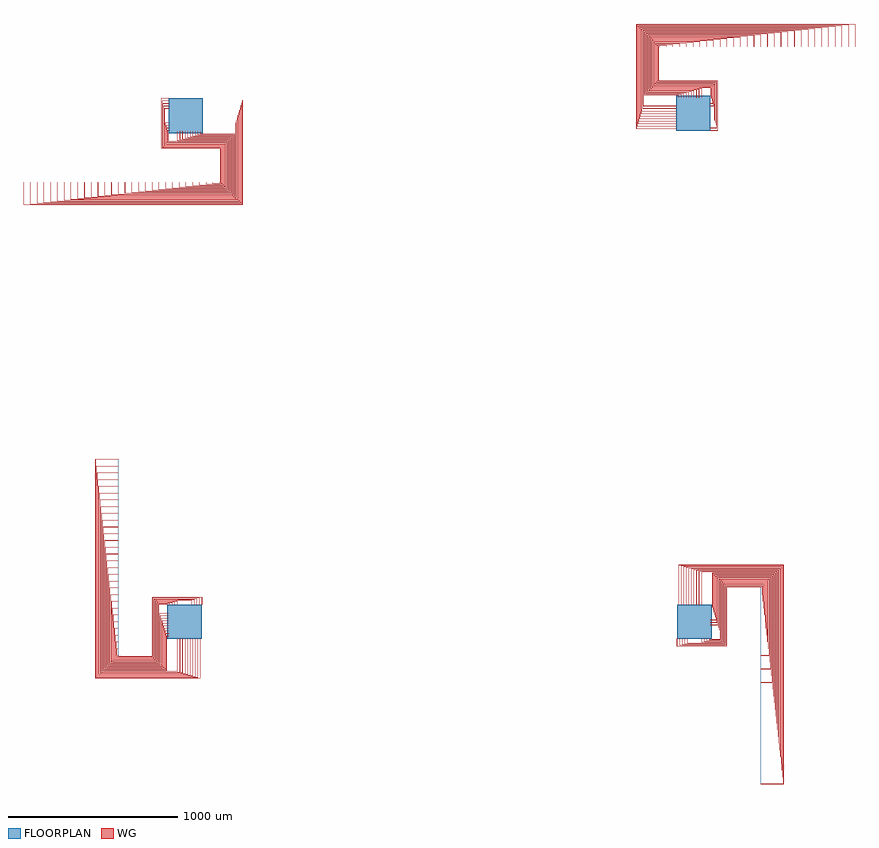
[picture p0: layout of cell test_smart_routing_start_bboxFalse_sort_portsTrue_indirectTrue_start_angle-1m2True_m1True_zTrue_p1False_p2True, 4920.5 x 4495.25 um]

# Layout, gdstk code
import gdstk
lib = gdstk.Library(unit=1e-6, precision=1e-09)
def R(c, l, rs):  # rectangles x0, y0, x1, y1
    for r in rs: c.add(gdstk.rectangle(r[:2], r[2:], *l))
def P(c, l, *ps):  # polygons
    for p in ps: c.add(gdstk.Polygon(p, *l))
WG = (1, 0)
FLOORPLAN = (10, 0)

test_smart_routing_start = lib.new_cell('test_smart_routing_start_bboxFalse_sort_portsTrue_indirectTrue_start_angle-1m2True_m1True_zTrue_p1False_p2True')
P(test_smart_routing_start, WG, [(3100,2904.75),(3100,2905.25),(3144.5,2905.25),(3144.5,3199.75),(2795.25,3199.75),(2795.25,3404.5),(2800.25,3404.5),(2800.25,3400),(2799.75,3400),(2799.75,3404),(2795.75,3404),(2795.75,3200.25),(3145,3200.25),(3145,2904.75)],
  [(3100,2919.75),(3100,2920.25),(3140,2920.25),(3140,3195.25),(2790.75,3195.25),(2790.75,3409),(2840.25,3409),(2840.25,3400),(2839.75,3400),(2839.75,3408.5),(2791.25,3408.5),(2791.25,3195.75),(3140.5,3195.75),(3140.5,2919.75)],
  [(3100,2934.75),(3100,2935.25),(3135.5,2935.25),(3135.5,3190.75),(2786.25,3190.75),(2786.25,3413.5),(2880.25,3413.5),(2880.25,3400),(2879.75,3400),(2879.75,3413),(2786.75,3413),(2786.75,3191.25),(3136,3191.25),(3136,2934.75)],
  [(3100,2949.75),(3100,2950.25),(3131,2950.25),(3131,3186.25),(2781.75,3186.25),(2781.75,3418),(2920.25,3418),(2920.25,3400),(2919.75,3400),(2919.75,3417.5),(2782.25,3417.5),(2782.25,3186.75),(3131.5,3186.75),(3131.5,2949.75)],
  [(3100,2964.75),(3100,2965.25),(3126.5,2965.25),(3126.5,3181.75),(2777.25,3181.75),(2777.25,3422.5),(2960.25,3422.5),(2960.25,3400),(2959.75,3400),(2959.75,3422),(2777.75,3422),(2777.75,3182.25),(3127,3182.25),(3127,2964.75)],
  [(3100,3049.75),(3100,3050.25),(3122,3050.25),(3122,3177.25),(2772.75,3177.25),(2772.75,3427),(3000.25,3427),(3000.25,3400),(2999.75,3400),(2999.75,3426.5),(2773.25,3426.5),(2773.25,3177.75),(3122.5,3177.75),(3122.5,3049.75)],
  [(3100,3064.75),(3100,3065.25),(3117.5,3065.25),(3117.5,3172.75),(2768.25,3172.75),(2768.25,3431.5),(3040.25,3431.5),(3040.25,3400),(3039.75,3400),(3039.75,3431),(2768.75,3431),(2768.75,3173.25),(3118,3173.25),(3118,3064.75)],
  [(3100,3079.75),(3100,3080.25),(3113,3080.25),(3113,3168.25),(2763.75,3168.25),(2763.75,3436),(3080.25,3436),(3080.25,3400),(3079.75,3400),(3079.75,3435.5),(2764.25,3435.5),(2764.25,3168.75),(3113.5,3168.75),(3113.5,3079.75)],
  [(3100,3094.75),(3100,3095.25),(3108.5,3095.25),(3108.5,3163.75),(2759.25,3163.75),(2759.25,3440.5),(3120.25,3440.5),(3120.25,3400),(3119.75,3400),(3119.75,3440),(2759.75,3440),(2759.75,3164.25),(3109,3164.25),(3109,3094.75)],
  [(3100,3109.75),(3100,3110.25),(3104,3110.25),(3104,3159.25),(2754.75,3159.25),(2754.75,3445),(3160.25,3445),(3160.25,3400),(3159.75,3400),(3159.75,3444.5),(2755.25,3444.5),(2755.25,3159.75),(3104.5,3159.75),(3104.5,3109.75)],
  [(3049.75,3100),(3049.75,3154.75),(2750.25,3154.75),(2750.25,3449.5),(3200.25,3449.5),(3200.25,3400),(3199.75,3400),(3199.75,3449),(2750.75,3449),(2750.75,3155.25),(3050.25,3155.25),(3050.25,3100)],
  [(3034.75,3100),(3034.75,3150.25),(2745.75,3150.25),(2745.75,3454),(3240.25,3454),(3240.25,3400),(3239.75,3400),(3239.75,3453.5),(2746.25,3453.5),(2746.25,3150.75),(3035.25,3150.75),(3035.25,3100)],
  [(3019.75,3100),(3019.75,3145.75),(2741.25,3145.75),(2741.25,3458.5),(3280.25,3458.5),(3280.25,3400),(3279.75,3400),(3279.75,3458),(2741.75,3458),(2741.75,3146.25),(3020.25,3146.25),(3020.25,3100)],
  [(3004.75,3100),(3004.75,3141.25),(2736.75,3141.25),(2736.75,3463),(3320.25,3463),(3320.25,3400),(3319.75,3400),(3319.75,3462.5),(2737.25,3462.5),(2737.25,3141.75),(3005.25,3141.75),(3005.25,3100)],
  [(2989.75,3100),(2989.75,3136.75),(2732.25,3136.75),(2732.25,3467.5),(3360.25,3467.5),(3360.25,3400),(3359.75,3400),(3359.75,3467),(2732.75,3467),(2732.75,3137.25),(2990.25,3137.25),(2990.25,3100)],
  [(2974.75,3100),(2974.75,3132.25),(2727.75,3132.25),(2727.75,3472),(3400.25,3472),(3400.25,3400),(3399.75,3400),(3399.75,3471.5),(2728.25,3471.5),(2728.25,3132.75),(2975.25,3132.75),(2975.25,3100)],
  [(2959.75,3100),(2959.75,3127.75),(2723.25,3127.75),(2723.25,3476.5),(3440.25,3476.5),(3440.25,3400),(3439.75,3400),(3439.75,3476),(2723.75,3476),(2723.75,3128.25),(2960.25,3128.25),(2960.25,3100)],
  [(2944.75,3100),(2944.75,3123.25),(2718.75,3123.25),(2718.75,3481),(3480.25,3481),(3480.25,3400),(3479.75,3400),(3479.75,3480.5),(2719.25,3480.5),(2719.25,3123.75),(2945.25,3123.75),(2945.25,3100)],
  [(2929.75,3100),(2929.75,3118.75),(2714.25,3118.75),(2714.25,3485.5),(3520.25,3485.5),(3520.25,3400),(3519.75,3400),(3519.75,3485),(2714.75,3485),(2714.75,3119.25),(2930.25,3119.25),(2930.25,3100)],
  [(2914.75,3100),(2914.75,3114.25),(2709.75,3114.25),(2709.75,3490),(3560.25,3490),(3560.25,3400),(3559.75,3400),(3559.75,3489.5),(2710.25,3489.5),(2710.25,3114.75),(2915.25,3114.75),(2915.25,3100)],
  [(2705.25,3049.75),(2705.25,3494.5),(3600.25,3494.5),(3600.25,3400),(3599.75,3400),(3599.75,3494),(2705.75,3494),(2705.75,3050.25),(2900,3050.25),(2900,3049.75)],
  [(2700.75,3034.75),(2700.75,3499),(3640.25,3499),(3640.25,3400),(3639.75,3400),(3639.75,3498.5),(2701.25,3498.5),(2701.25,3035.25),(2900,3035.25),(2900,3034.75)],
  [(2696.25,3019.75),(2696.25,3503.5),(3680.25,3503.5),(3680.25,3400),(3679.75,3400),(3679.75,3503),(2696.75,3503),(2696.75,3020.25),(2900,3020.25),(2900,3019.75)],
  [(2691.75,3004.75),(2691.75,3508),(3720.25,3508),(3720.25,3400),(3719.75,3400),(3719.75,3507.5),(2692.25,3507.5),(2692.25,3005.25),(2900,3005.25),(2900,3004.75)],
  [(2687.25,2989.75),(2687.25,3512.5),(3760.25,3512.5),(3760.25,3400),(3759.75,3400),(3759.75,3512),(2687.75,3512),(2687.75,2990.25),(2900,2990.25),(2900,2989.75)],
  [(2682.75,2974.75),(2682.75,3517),(3800.25,3517),(3800.25,3400),(3799.75,3400),(3799.75,3516.5),(2683.25,3516.5),(2683.25,2975.25),(2900,2975.25),(2900,2974.75)],
  [(2678.25,2959.75),(2678.25,3521.5),(3840.25,3521.5),(3840.25,3400),(3839.75,3400),(3839.75,3521),(2678.75,3521),(2678.75,2960.25),(2900,2960.25),(2900,2959.75)],
  [(2673.75,2944.75),(2673.75,3526),(3880.25,3526),(3880.25,3400),(3879.75,3400),(3879.75,3525.5),(2674.25,3525.5),(2674.25,2945.25),(2900,2945.25),(2900,2944.75)],
  [(2669.25,2929.75),(2669.25,3530.5),(3920.25,3530.5),(3920.25,3400),(3919.75,3400),(3919.75,3530),(2669.75,3530),(2669.75,2930.25),(2900,2930.25),(2900,2929.75)],
  [(2664.75,2914.75),(2664.75,3535),(3960.25,3535),(3960.25,3400),(3959.75,3400),(3959.75,3534.5),(2665.25,3534.5),(2665.25,2915.25),(2900,2915.25),(2900,2914.75)],
  [(199.75,2595.5),(199.75,2600),(200.25,2600),(200.25,2596),(204.25,2596),(204.25,2799.75),(-145,2799.75),(-145,3095.25),(-100,3095.25),(-100,3094.75),(-144.5,3094.75),(-144.5,2800.25),(204.75,2800.25),(204.75,2595.5)],
  [(159.75,2591),(159.75,2600),(160.25,2600),(160.25,2591.5),(208.75,2591.5),(208.75,2804.25),(-140.5,2804.25),(-140.5,3080.25),(-100,3080.25),(-100,3079.75),(-140,3079.75),(-140,2804.75),(209.25,2804.75),(209.25,2591)],
  [(119.75,2586.5),(119.75,2600),(120.25,2600),(120.25,2587),(213.25,2587),(213.25,2808.75),(-136,2808.75),(-136,3065.25),(-100,3065.25),(-100,3064.75),(-135.5,3064.75),(-135.5,2809.25),(213.75,2809.25),(213.75,2586.5)],
  [(79.75,2582),(79.75,2600),(80.25,2600),(80.25,2582.5),(217.75,2582.5),(217.75,2813.25),(-131.5,2813.25),(-131.5,3050.25),(-100,3050.25),(-100,3049.75),(-131,3049.75),(-131,2813.75),(218.25,2813.75),(218.25,2582)],
  [(39.75,2577.5),(39.75,2600),(40.25,2600),(40.25,2578),(222.25,2578),(222.25,2817.75),(-127,2817.75),(-127,3035.25),(-100,3035.25),(-100,3034.75),(-126.5,3034.75),(-126.5,2818.25),(222.75,2818.25),(222.75,2577.5)],
  [(-0.25,2573),(-0.25,2600),(0.25,2600),(0.25,2573.5),(226.75,2573.5),(226.75,2822.25),(-122.5,2822.25),(-122.5,2950.25),(-100,2950.25),(-100,2949.75),(-122,2949.75),(-122,2822.75),(227.25,2822.75),(227.25,2573)],
  [(-40.25,2568.5),(-40.25,2600),(-39.75,2600),(-39.75,2569),(231.25,2569),(231.25,2826.75),(-118,2826.75),(-118,2935.25),(-100,2935.25),(-100,2934.75),(-117.5,2934.75),(-117.5,2827.25),(231.75,2827.25),(231.75,2568.5)],
  [(-80.25,2564),(-80.25,2600),(-79.75,2600),(-79.75,2564.5),(235.75,2564.5),(235.75,2831.25),(-113.5,2831.25),(-113.5,2920.25),(-100,2920.25),(-100,2919.75),(-113,2919.75),(-113,2831.75),(236.25,2831.75),(236.25,2564)],
  [(-120.25,2559.5),(-120.25,2600),(-119.75,2600),(-119.75,2560),(240.25,2560),(240.25,2835.75),(-109,2835.75),(-109,2905.25),(-100,2905.25),(-100,2904.75),(-108.5,2904.75),(-108.5,2836.25),(240.75,2836.25),(240.75,2559.5)],
  [(-160.25,2555),(-160.25,2600),(-159.75,2600),(-159.75,2555.5),(244.75,2555.5),(244.75,2840.25),(-104.5,2840.25),(-104.5,2890.25),(-100,2890.25),(-100,2889.75),(-104,2889.75),(-104,2840.75),(245.25,2840.75),(245.25,2555)],
  [(-200.25,2550.5),(-200.25,2600),(-199.75,2600),(-199.75,2551),(249.25,2551),(249.25,2844.75),(-50.25,2844.75),(-50.25,2900),(-49.75,2900),(-49.75,2845.25),(249.75,2845.25),(249.75,2550.5)],
  [(-240.25,2546),(-240.25,2600),(-239.75,2600),(-239.75,2546.5),(253.75,2546.5),(253.75,2849.25),(-35.25,2849.25),(-35.25,2900),(-34.75,2900),(-34.75,2849.75),(254.25,2849.75),(254.25,2546)],
  [(-280.25,2541.5),(-280.25,2600),(-279.75,2600),(-279.75,2542),(258.25,2542),(258.25,2853.75),(-20.25,2853.75),(-20.25,2900),(-19.75,2900),(-19.75,2854.25),(258.75,2854.25),(258.75,2541.5)],
  [(-320.25,2537),(-320.25,2600),(-319.75,2600),(-319.75,2537.5),(262.75,2537.5),(262.75,2858.25),(-5.25,2858.25),(-5.25,2900),(-4.75,2900),(-4.75,2858.75),(263.25,2858.75),(263.25,2537)],
  [(-360.25,2532.5),(-360.25,2600),(-359.75,2600),(-359.75,2533),(267.25,2533),(267.25,2862.75),(9.75,2862.75),(9.75,2900),(10.25,2900),(10.25,2863.25),(267.75,2863.25),(267.75,2532.5)],
  [(-400.25,2528),(-400.25,2600),(-399.75,2600),(-399.75,2528.5),(271.75,2528.5),(271.75,2867.25),(24.75,2867.25),(24.75,2900),(25.25,2900),(25.25,2867.75),(272.25,2867.75),(272.25,2528)],
  [(-440.25,2523.5),(-440.25,2600),(-439.75,2600),(-439.75,2524),(276.25,2524),(276.25,2871.75),(39.75,2871.75),(39.75,2900),(40.25,2900),(40.25,2872.25),(276.75,2872.25),(276.75,2523.5)],
  [(-480.25,2519),(-480.25,2600),(-479.75,2600),(-479.75,2519.5),(280.75,2519.5),(280.75,2876.25),(54.75,2876.25),(54.75,2900),(55.25,2900),(55.25,2876.75),(281.25,2876.75),(281.25,2519)],
  [(-520.25,2514.5),(-520.25,2600),(-519.75,2600),(-519.75,2515),(285.25,2515),(285.25,2880.75),(69.75,2880.75),(69.75,2900),(70.25,2900),(70.25,2881.25),(285.75,2881.25),(285.75,2514.5)],
  [(-560.25,2510),(-560.25,2600),(-559.75,2600),(-559.75,2510.5),(289.75,2510.5),(289.75,2885.25),(84.75,2885.25),(84.75,2900),(85.25,2900),(85.25,2885.75),(290.25,2885.75),(290.25,2510)],
  [(-600.25,2505.5),(-600.25,2600),(-599.75,2600),(-599.75,2506),(294.25,2506),(294.25,2949.75),(100,2949.75),(100,2950.25),(294.75,2950.25),(294.75,2505.5)],
  [(-640.25,2501),(-640.25,2600),(-639.75,2600),(-639.75,2501.5),(298.75,2501.5),(298.75,2964.75),(100,2964.75),(100,2965.25),(299.25,2965.25),(299.25,2501)],
  [(-680.25,2496.5),(-680.25,2600),(-679.75,2600),(-679.75,2497),(303.25,2497),(303.25,2979.75),(100,2979.75),(100,2980.25),(303.75,2980.25),(303.75,2496.5)],
  [(-720.25,2492),(-720.25,2600),(-719.75,2600),(-719.75,2492.5),(307.75,2492.5),(307.75,2994.75),(100,2994.75),(100,2995.25),(308.25,2995.25),(308.25,2492)],
  [(-760.25,2487.5),(-760.25,2600),(-759.75,2600),(-759.75,2488),(312.25,2488),(312.25,3009.75),(100,3009.75),(100,3010.25),(312.75,3010.25),(312.75,2487.5)],
  [(-800.25,2483),(-800.25,2600),(-799.75,2600),(-799.75,2483.5),(316.75,2483.5),(316.75,3024.75),(100,3024.75),(100,3025.25),(317.25,3025.25),(317.25,2483)],
  [(-840.25,2478.5),(-840.25,2600),(-839.75,2600),(-839.75,2479),(321.25,2479),(321.25,3039.75),(100,3039.75),(100,3040.25),(321.75,3040.25),(321.75,2478.5)],
  [(-880.25,2474),(-880.25,2600),(-879.75,2600),(-879.75,2474.5),(325.75,2474.5),(325.75,3054.75),(100,3054.75),(100,3055.25),(326.25,3055.25),(326.25,2474)],
  [(-920.25,2469.5),(-920.25,2600),(-919.75,2600),(-919.75,2470),(330.25,2470),(330.25,3069.75),(100,3069.75),(100,3070.25),(330.75,3070.25),(330.75,2469.5)],
  [(-960.25,2465),(-960.25,2600),(-959.75,2600),(-959.75,2465.5),(334.75,2465.5),(334.75,3084.75),(100,3084.75),(100,3085.25),(335.25,3085.25),(335.25,2465)],
  [(-404.5,-204.75),(-404.5,-199.75),(-400,-199.75),(-400,-200.25),(-404,-200.25),(-404,-204.25),(-200.25,-204.25),(-200.25,145),(95.25,145),(95.25,100),(94.75,100),(94.75,144.5),(-199.75,144.5),(-199.75,-204.75)],
  [(-409,-209.25),(-409,-159.75),(-400,-159.75),(-400,-160.25),(-408.5,-160.25),(-408.5,-208.75),(-195.75,-208.75),(-195.75,140.5),(80.25,140.5),(80.25,100),(79.75,100),(79.75,140),(-195.25,140),(-195.25,-209.25)],
  [(-413.5,-213.75),(-413.5,-119.75),(-400,-119.75),(-400,-120.25),(-413,-120.25),(-413,-213.25),(-191.25,-213.25),(-191.25,136),(65.25,136),(65.25,100),(64.75,100),(64.75,135.5),(-190.75,135.5),(-190.75,-213.75)],
  [(-418,-218.25),(-418,-79.75),(-400,-79.75),(-400,-80.25),(-417.5,-80.25),(-417.5,-217.75),(-186.75,-217.75),(-186.75,131.5),(50.25,131.5),(50.25,100),(49.75,100),(49.75,131),(-186.25,131),(-186.25,-218.25)],
  [(-422.5,-222.75),(-422.5,-39.75),(-400,-39.75),(-400,-40.25),(-422,-40.25),(-422,-222.25),(-182.25,-222.25),(-182.25,127),(35.25,127),(35.25,100),(34.75,100),(34.75,126.5),(-181.75,126.5),(-181.75,-222.75)],
  [(-427,-227.25),(-427,0.25),(-400,0.25),(-400,-0.25),(-426.5,-0.25),(-426.5,-226.75),(-177.75,-226.75),(-177.75,122.5),(-49.75,122.5),(-49.75,100),(-50.25,100),(-50.25,122),(-177.25,122),(-177.25,-227.25)],
  [(-431.5,-231.75),(-431.5,40.25),(-400,40.25),(-400,39.75),(-431,39.75),(-431,-231.25),(-173.25,-231.25),(-173.25,118),(-64.75,118),(-64.75,100),(-65.25,100),(-65.25,117.5),(-172.75,117.5),(-172.75,-231.75)],
  [(-436,-236.25),(-436,80.25),(-400,80.25),(-400,79.75),(-435.5,79.75),(-435.5,-235.75),(-168.75,-235.75),(-168.75,113.5),(-79.75,113.5),(-79.75,100),(-80.25,100),(-80.25,113),(-168.25,113),(-168.25,-236.25)],
  [(-440.5,-240.75),(-440.5,120.25),(-400,120.25),(-400,119.75),(-440,119.75),(-440,-240.25),(-164.25,-240.25),(-164.25,109),(-94.75,109),(-94.75,100),(-95.25,100),(-95.25,108.5),(-163.75,108.5),(-163.75,-240.75)],
  [(-445,-245.25),(-445,160.25),(-400,160.25),(-400,159.75),(-444.5,159.75),(-444.5,-244.75),(-159.75,-244.75),(-159.75,104.5),(-109.75,104.5),(-109.75,100),(-110.25,100),(-110.25,104),(-159.25,104),(-159.25,-245.25)],
  [(-449.5,-249.75),(-449.5,200.25),(-400,200.25),(-400,199.75),(-449,199.75),(-449,-249.25),(-155.25,-249.25),(-155.25,50.25),(-100,50.25),(-100,49.75),(-154.75,49.75),(-154.75,-249.75)],
  [(-454,-254.25),(-454,240.25),(-400,240.25),(-400,239.75),(-453.5,239.75),(-453.5,-253.75),(-150.75,-253.75),(-150.75,35.25),(-100,35.25),(-100,34.75),(-150.25,34.75),(-150.25,-254.25)],
  [(-458.5,-258.75),(-458.5,280.25),(-400,280.25),(-400,279.75),(-458,279.75),(-458,-258.25),(-146.25,-258.25),(-146.25,20.25),(-100,20.25),(-100,19.75),(-145.75,19.75),(-145.75,-258.75)],
  [(-463,-263.25),(-463,320.25),(-400,320.25),(-400,319.75),(-462.5,319.75),(-462.5,-262.75),(-141.75,-262.75),(-141.75,5.25),(-100,5.25),(-100,4.75),(-141.25,4.75),(-141.25,-263.25)],
  [(-467.5,-267.75),(-467.5,360.25),(-400,360.25),(-400,359.75),(-467,359.75),(-467,-267.25),(-137.25,-267.25),(-137.25,-9.75),(-100,-9.75),(-100,-10.25),(-136.75,-10.25),(-136.75,-267.75)],
  [(-472,-272.25),(-472,400.25),(-400,400.25),(-400,399.75),(-471.5,399.75),(-471.5,-271.75),(-132.75,-271.75),(-132.75,-24.75),(-100,-24.75),(-100,-25.25),(-132.25,-25.25),(-132.25,-272.25)],
  [(-476.5,-276.75),(-476.5,440.25),(-400,440.25),(-400,439.75),(-476,439.75),(-476,-276.25),(-128.25,-276.25),(-128.25,-39.75),(-100,-39.75),(-100,-40.25),(-127.75,-40.25),(-127.75,-276.75)],
  [(-481,-281.25),(-481,480.25),(-400,480.25),(-400,479.75),(-480.5,479.75),(-480.5,-280.75),(-123.75,-280.75),(-123.75,-54.75),(-100,-54.75),(-100,-55.25),(-123.25,-55.25),(-123.25,-281.25)],
  [(-485.5,-285.75),(-485.5,520.25),(-400,520.25),(-400,519.75),(-485,519.75),(-485,-285.25),(-119.25,-285.25),(-119.25,-69.75),(-100,-69.75),(-100,-70.25),(-118.75,-70.25),(-118.75,-285.75)],
  [(-490,-290.25),(-490,560.25),(-400,560.25),(-400,559.75),(-489.5,559.75),(-489.5,-289.75),(-114.75,-289.75),(-114.75,-84.75),(-100,-84.75),(-100,-85.25),(-114.25,-85.25),(-114.25,-290.25)],
  [(-494.5,-294.75),(-494.5,600.25),(-400,600.25),(-400,599.75),(-494,599.75),(-494,-294.25),(-50.25,-294.25),(-50.25,-100),(-49.75,-100),(-49.75,-294.75)],
  [(-499,-299.25),(-499,640.25),(-400,640.25),(-400,639.75),(-498.5,639.75),(-498.5,-298.75),(-35.25,-298.75),(-35.25,-100),(-34.75,-100),(-34.75,-299.25)],
  [(-503.5,-303.75),(-503.5,680.25),(-400,680.25),(-400,679.75),(-503,679.75),(-503,-303.25),(-20.25,-303.25),(-20.25,-100),(-19.75,-100),(-19.75,-303.75)],
  [(-508,-308.25),(-508,720.25),(-400,720.25),(-400,719.75),(-507.5,719.75),(-507.5,-307.75),(-5.25,-307.75),(-5.25,-100),(-4.75,-100),(-4.75,-308.25)],
  [(-512.5,-312.75),(-512.5,760.25),(-400,760.25),(-400,759.75),(-512,759.75),(-512,-312.25),(9.75,-312.25),(9.75,-100),(10.25,-100),(10.25,-312.75)],
  [(-517,-317.25),(-517,800.25),(-400,800.25),(-400,799.75),(-516.5,799.75),(-516.5,-316.75),(24.75,-316.75),(24.75,-100),(25.25,-100),(25.25,-317.25)],
  [(-521.5,-321.75),(-521.5,840.25),(-400,840.25),(-400,839.75),(-521,839.75),(-521,-321.25),(39.75,-321.25),(39.75,-100),(40.25,-100),(40.25,-321.75)],
  [(-526,-326.25),(-526,880.25),(-400,880.25),(-400,879.75),(-525.5,879.75),(-525.5,-325.75),(54.75,-325.75),(54.75,-100),(55.25,-100),(55.25,-326.25)],
  [(-530.5,-330.75),(-530.5,920.25),(-400,920.25),(-400,919.75),(-530,919.75),(-530,-330.25),(69.75,-330.25),(69.75,-100),(70.25,-100),(70.25,-330.75)],
  [(-535,-335.25),(-535,960.25),(-400,960.25),(-400,959.75),(-534.5,959.75),(-534.5,-334.75),(84.75,-334.75),(84.75,-100),(85.25,-100),(85.25,-335.25)],
  [(2904.75,-145),(2904.75,-100),(2905.25,-100),(2905.25,-144.5),(3199.75,-144.5),(3199.75,204.75),(3404.5,204.75),(3404.5,199.75),(3400,199.75),(3400,200.25),(3404,200.25),(3404,204.25),(3200.25,204.25),(3200.25,-145)],
  [(2919.75,-140.5),(2919.75,-100),(2920.25,-100),(2920.25,-140),(3195.25,-140),(3195.25,209.25),(3409,209.25),(3409,159.75),(3400,159.75),(3400,160.25),(3408.5,160.25),(3408.5,208.75),(3195.75,208.75),(3195.75,-140.5)],
  [(2934.75,-136),(2934.75,-100),(2935.25,-100),(2935.25,-135.5),(3190.75,-135.5),(3190.75,213.75),(3413.5,213.75),(3413.5,119.75),(3400,119.75),(3400,120.25),(3413,120.25),(3413,213.25),(3191.25,213.25),(3191.25,-136)],
  [(2949.75,-131.5),(2949.75,-100),(2950.25,-100),(2950.25,-131),(3186.25,-131),(3186.25,218.25),(3418,218.25),(3418,79.75),(3400,79.75),(3400,80.25),(3417.5,80.25),(3417.5,217.75),(3186.75,217.75),(3186.75,-131.5)],
  [(2964.75,-127),(2964.75,-100),(2965.25,-100),(2965.25,-126.5),(3181.75,-126.5),(3181.75,222.75),(3422.5,222.75),(3422.5,39.75),(3400,39.75),(3400,40.25),(3422,40.25),(3422,222.25),(3182.25,222.25),(3182.25,-127)],
  [(3049.75,-122.5),(3049.75,-100),(3050.25,-100),(3050.25,-122),(3177.25,-122),(3177.25,227.25),(3427,227.25),(3427,-0.25),(3400,-0.25),(3400,0.25),(3426.5,0.25),(3426.5,226.75),(3177.75,226.75),(3177.75,-122.5)],
  [(3064.75,-118),(3064.75,-100),(3065.25,-100),(3065.25,-117.5),(3172.75,-117.5),(3172.75,231.75),(3431.5,231.75),(3431.5,-40.25),(3400,-40.25),(3400,-39.75),(3431,-39.75),(3431,231.25),(3173.25,231.25),(3173.25,-118)],
  [(3079.75,-113.5),(3079.75,-100),(3080.25,-100),(3080.25,-113),(3168.25,-113),(3168.25,236.25),(3436,236.25),(3436,-80.25),(3400,-80.25),(3400,-79.75),(3435.5,-79.75),(3435.5,235.75),(3168.75,235.75),(3168.75,-113.5)],
  [(3400,-120.25),(3400,-119.75),(3440,-119.75),(3440,240.25),(3164.25,240.25),(3164.25,-109),(3094.75,-109),(3094.75,-100),(3095.25,-100),(3095.25,-108.5),(3163.75,-108.5),(3163.75,240.75),(3440.5,240.75),(3440.5,-120.25)],
  [(3400,-160.25),(3400,-159.75),(3444.5,-159.75),(3444.5,244.75),(3159.75,244.75),(3159.75,-104.5),(3109.75,-104.5),(3109.75,-100),(3110.25,-100),(3110.25,-104),(3159.25,-104),(3159.25,245.25),(3445,245.25),(3445,-160.25)],
  [(3400,-200.25),(3400,-199.75),(3449,-199.75),(3449,249.25),(3155.25,249.25),(3155.25,-50.25),(3100,-50.25),(3100,-49.75),(3154.75,-49.75),(3154.75,249.75),(3449.5,249.75),(3449.5,-200.25)],
  [(3400,-240.25),(3400,-239.75),(3453.5,-239.75),(3453.5,253.75),(3150.75,253.75),(3150.75,-35.25),(3100,-35.25),(3100,-34.75),(3150.25,-34.75),(3150.25,254.25),(3454,254.25),(3454,-240.25)],
  [(3400,-280.25),(3400,-279.75),(3458,-279.75),(3458,258.25),(3146.25,258.25),(3146.25,-20.25),(3100,-20.25),(3100,-19.75),(3145.75,-19.75),(3145.75,258.75),(3458.5,258.75),(3458.5,-280.25)],
  [(3400,-320.25),(3400,-319.75),(3462.5,-319.75),(3462.5,262.75),(3141.75,262.75),(3141.75,-5.25),(3100,-5.25),(3100,-4.75),(3141.25,-4.75),(3141.25,263.25),(3463,263.25),(3463,-320.25)],
  [(3400,-360.25),(3400,-359.75),(3467,-359.75),(3467,267.25),(3137.25,267.25),(3137.25,9.75),(3100,9.75),(3100,10.25),(3136.75,10.25),(3136.75,267.75),(3467.5,267.75),(3467.5,-360.25)],
  [(3400,-400.25),(3400,-399.75),(3471.5,-399.75),(3471.5,271.75),(3132.75,271.75),(3132.75,24.75),(3100,24.75),(3100,25.25),(3132.25,25.25),(3132.25,272.25),(3472,272.25),(3472,-400.25)],
  [(3400,-440.25),(3400,-439.75),(3476,-439.75),(3476,276.25),(3128.25,276.25),(3128.25,39.75),(3100,39.75),(3100,40.25),(3127.75,40.25),(3127.75,276.75),(3476.5,276.75),(3476.5,-440.25)],
  [(3400,-480.25),(3400,-479.75),(3480.5,-479.75),(3480.5,280.75),(3123.75,280.75),(3123.75,54.75),(3100,54.75),(3100,55.25),(3123.25,55.25),(3123.25,281.25),(3481,281.25),(3481,-480.25)],
  [(3400,-520.25),(3400,-519.75),(3485,-519.75),(3485,285.25),(3119.25,285.25),(3119.25,69.75),(3100,69.75),(3100,70.25),(3118.75,70.25),(3118.75,285.75),(3485.5,285.75),(3485.5,-520.25)],
  [(3400,-560.25),(3400,-559.75),(3489.5,-559.75),(3489.5,289.75),(3114.75,289.75),(3114.75,84.75),(3100,84.75),(3100,85.25),(3114.25,85.25),(3114.25,290.25),(3490,290.25),(3490,-560.25)],
  [(3400,-600.25),(3400,-599.75),(3494,-599.75),(3494,294.25),(3050.25,294.25),(3050.25,100),(3049.75,100),(3049.75,294.75),(3494.5,294.75),(3494.5,-600.25)],
  [(3400,-640.25),(3400,-639.75),(3498.5,-639.75),(3498.5,298.75),(3035.25,298.75),(3035.25,100),(3034.75,100),(3034.75,299.25),(3499,299.25),(3499,-640.25)],
  [(3400,-680.25),(3400,-679.75),(3503,-679.75),(3503,303.25),(3020.25,303.25),(3020.25,100),(3019.75,100),(3019.75,303.75),(3503.5,303.75),(3503.5,-680.25)],
  [(3400,-720.25),(3400,-719.75),(3507.5,-719.75),(3507.5,307.75),(3005.25,307.75),(3005.25,100),(3004.75,100),(3004.75,308.25),(3508,308.25),(3508,-720.25)],
  [(3400,-760.25),(3400,-759.75),(3512,-759.75),(3512,312.25),(2990.25,312.25),(2990.25,100),(2989.75,100),(2989.75,312.75),(3512.5,312.75),(3512.5,-760.25)],
  [(3400,-800.25),(3400,-799.75),(3516.5,-799.75),(3516.5,316.75),(2975.25,316.75),(2975.25,100),(2974.75,100),(2974.75,317.25),(3517,317.25),(3517,-800.25)],
  [(3400,-840.25),(3400,-839.75),(3521,-839.75),(3521,321.25),(2960.25,321.25),(2960.25,100),(2959.75,100),(2959.75,321.75),(3521.5,321.75),(3521.5,-840.25)],
  [(3400,-880.25),(3400,-879.75),(3525.5,-879.75),(3525.5,325.75),(2945.25,325.75),(2945.25,100),(2944.75,100),(2944.75,326.25),(3526,326.25),(3526,-880.25)],
  [(3400,-920.25),(3400,-919.75),(3530,-919.75),(3530,330.25),(2930.25,330.25),(2930.25,100),(2929.75,100),(2929.75,330.75),(3530.5,330.75),(3530.5,-920.25)],
  [(3400,-960.25),(3400,-959.75),(3534.5,-959.75),(3534.5,334.75),(2915.25,334.75),(2915.25,100),(2914.75,100),(2914.75,335.25),(3535,335.25),(3535,-960.25)])
R(test_smart_routing_start, FLOORPLAN, [(-110,-100,95,100), (2905,-100,3110,100), (-100,2890,100,3095), (2900,2905,3100,3110)])
P(test_smart_routing_start, FLOORPLAN, [(-400,-200),(-400,960),(-400,960),(-400,-200)],
  [(-960,2600),(-960,2600),(200,2600),(200,2600)],
  [(3400,-960),(3400,200),(3400,200),(3400,-960)],
  [(2800,3400),(2800,3400),(3960,3400),(3960,3400)])

lib.write_gds('test_smart_routing_start_bboxFalse_sort_portsTrue_indirectTrue_start_angle-1m2True_m1True_zTrue_p1False_p2True.gds')
